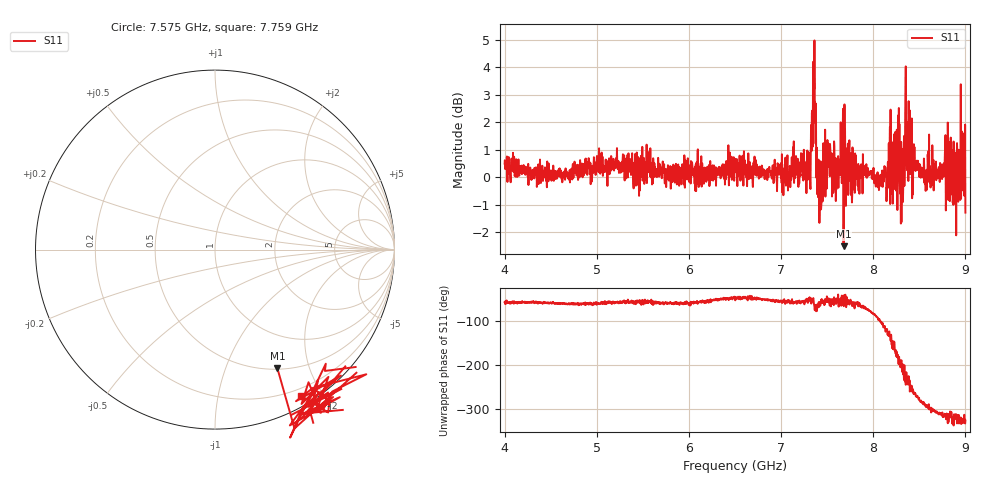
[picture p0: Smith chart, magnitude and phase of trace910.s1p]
! Created with skrf 1.8.0 (http://scikit-rf.org).
# Hz S RI R 50.0
!freq ReS11 ImS11
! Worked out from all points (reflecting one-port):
!   1601 points, 4 GHz to 9 GHz, reference 50 ohm
!   lowest |S11| = -2.5 dB at 7.678 GHz (marker M1), VSWR 6.94, Z = 25.5 - j76.7 ohm
!   phase of S11 starts at -57 deg and turns -270 deg over the sweep
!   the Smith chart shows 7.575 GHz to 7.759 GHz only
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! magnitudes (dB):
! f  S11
! 4 GHz  0.5
! 4.625 GHz  -0.2
! 5.25 GHz  0.4
! 5.875 GHz  0.0
! 6.5 GHz  0.7
! 7.125 GHz  0.2
! 7.294 GHz  0.1
! 7.353 GHz  2.0
! 7.372 GHz  2.6
! 7.394 GHz  0.2
! 7.416 GHz  -1.7
! 7.512 GHz  1.2
! 7.578 GHz  1.2
! 7.678 GHz  -2.5
! 7.75 GHz  0.1
! 8.084 GHz  -0.2
! 8.209 GHz  0.3
! 8.259 GHz  1.3
! 8.312 GHz  1.0
! 8.334 GHz  1.5
! 8.375 GHz  2.0
! 8.425 GHz  0.2
! 8.562 GHz  -0.3
! 8.788 GHz  -1.2
! 8.875 GHz  -0.2
! 8.959 GHz  1.7
! 8.972 GHz  0.6
! 9 GHz  -1.3
